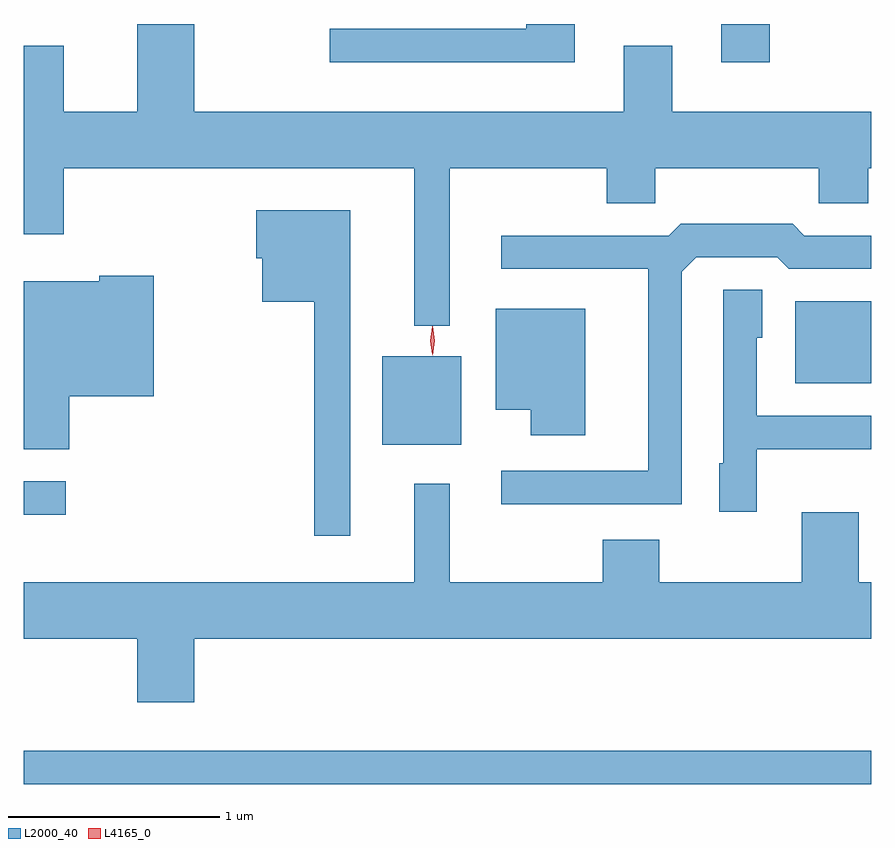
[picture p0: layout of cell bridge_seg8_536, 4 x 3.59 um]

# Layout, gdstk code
import gdstk
lib = gdstk.Library(unit=1e-6, precision=1e-09)
def R(c, l, rs):  # rectangles x0, y0, x1, y1
    for r in rs: c.add(gdstk.rectangle(r[:2], r[2:], *l))
def P(c, l, *ps):  # polygons
    for p in ps: c.add(gdstk.Polygon(p, *l))
L2000_40 = (2000, 40)
L4165_0 = (4165, 0)

bridge_seg8_536 = lib.new_cell('bridge_seg8_536')
R(bridge_seg8_536, L2000_40, [(554.199,1862.371,558.199,1862.529), (554.199,1863.641,554.398,1863.799), (555.891,1863.971,556.264,1864.389), (557.841,1864.261,558.199,1864.649), (557.491,1865.776,557.719,1865.957)])
P(bridge_seg8_536, L2000_40, [(556.209,1865.276),(556.951,1865.276),(556.951,1865.111),(557.179,1865.111),(557.179,1865.276),(557.951,1865.276),(557.951,1865.111),(558.184,1865.111),(558.184,1865.276),(558.199,1865.276),(558.199,1865.544),(557.259,1865.544),(557.259,1865.854),(557.031,1865.854),(557.031,1865.544),(555.004,1865.544),(555.004,1865.957),(554.736,1865.957),(554.736,1865.544),(554.389,1865.544),(554.389,1865.854),(554.199,1865.854),(554.199,1864.966),(554.389,1864.966),(554.389,1865.276),(556.041,1865.276),(556.041,1864.533),(556.209,1864.533)],
  [(556.799,1865.957),(556.571,1865.957),(556.571,1865.934),(555.643,1865.934),(555.643,1865.776),(556.799,1865.776)],
  [(555.739,1865.079),(555.296,1865.079),(555.296,1864.851),(555.326,1864.851),(555.326,1864.646),(555.571,1864.646),(555.571,1863.543),(555.739,1863.543)],
  [(557.304,1864.789),(557.372,1864.856),(557.754,1864.856),(557.809,1864.801),(558.199,1864.801),(558.199,1864.959),(557.882,1864.959),(557.827,1865.014),(557.299,1865.014),(557.244,1864.959),(556.453,1864.959),(556.453,1864.801),(557.146,1864.801),(557.146,1863.849),(556.453,1863.849),(556.453,1863.691),(557.304,1863.691)],
  [(554.414,1864.201),(554.814,1864.201),(554.814,1864.769),(554.556,1864.769),(554.556,1864.744),(554.199,1864.744),(554.199,1863.951),(554.414,1863.951)],
  [(557.659,1863.951),(558.199,1863.951),(558.199,1864.109),(557.659,1864.109),(557.659,1864.476),(557.684,1864.476),(557.684,1864.704),(557.501,1864.704),(557.501,1863.884),(557.481,1863.884),(557.481,1863.656),(557.659,1863.656)],
  [(556.849,1864.614),(556.426,1864.614),(556.426,1864.136),(556.591,1864.136),(556.591,1864.016),(556.849,1864.016)],
  [(555.004,1863.056),(558.199,1863.056),(558.199,1863.324),(558.139,1863.324),(558.139,1863.654),(557.871,1863.654),(557.871,1863.324),(557.199,1863.324),(557.199,1863.524),(556.931,1863.524),(556.931,1863.324),(556.209,1863.324),(556.209,1863.788),(556.041,1863.788),(556.041,1863.324),(554.199,1863.324),(554.199,1863.056),(554.736,1863.056),(554.736,1862.756),(555.004,1862.756)])
P(bridge_seg8_536, L4165_0, [(556.128,1864.398),(556.128,1864.399),(556.118,1864.463),(556.128,1864.527),(556.128,1864.527),(556.129,1864.527),(556.138,1864.463),(556.129,1864.399)],
  [(556.129,1864.394),(556.129,1864.394),(556.119,1864.462),(556.128,1864.53),(556.128,1864.53),(556.129,1864.53),(556.139,1864.462),(556.13,1864.394)])

lib.write_gds('bridge_seg8_536.gds')
